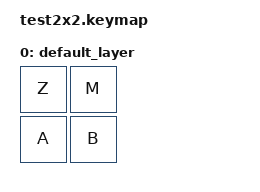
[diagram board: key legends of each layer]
#include <behaviors.dtsi>
#include <dt-bindings/zmk/keys.h>

/ {
    keymap {
        compatible = "zmk,keymap";

        default_layer { // Layer 0
            // -------------------------
            // |     Z     |     M     |
            // |     A     |     B     |
            // -------------------------
            bindings = <
                &kp Z    &kp M    
                &kp A    &kp B      
            >;
        };
    };
 };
